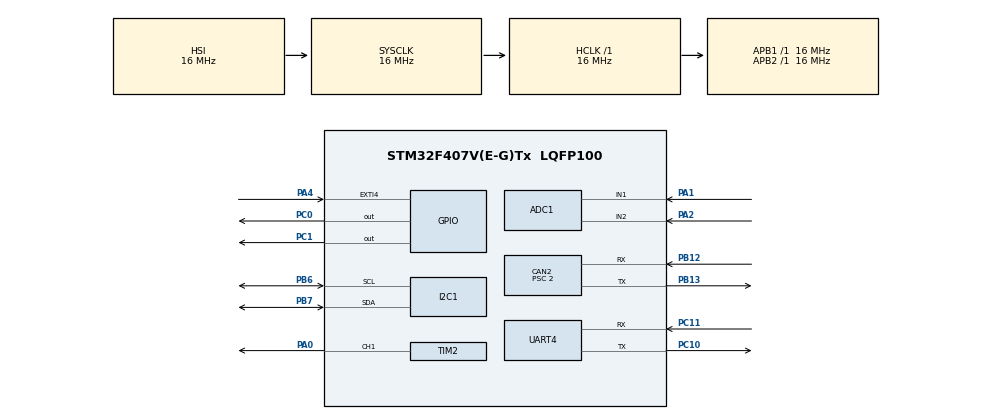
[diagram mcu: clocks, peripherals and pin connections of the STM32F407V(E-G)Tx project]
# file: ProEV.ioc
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ADC1.Channel-0\#ChannelRegularConversion=ADC_CHANNEL_1
ADC1.NbrOfConversionFlag=1
ADC1.Rank-0\#ChannelRegularConversion=1
ADC1.SamplingTime-0\#ChannelRegularConversion=ADC_SAMPLETIME_3CYCLES
ADC1.master=1
CAN2.BS1=CAN_BS1_13TQ
CAN2.BS2=CAN_BS2_2TQ
CAN2.CalculateBaudRate=500000
CAN2.CalculateTimeBit=2000
CAN2.CalculateTimeQuantum=125.0
CAN2.Prescaler=2
FREERTOS.Tasks01=SafetyTask,40,128,StartSafetyTask,Default,NULL,Dynamic,NULL,NULL;ControlTask,32,256,StartControlTask,Default,NULL,Dynamic,NULL,NULL;TelemetryTask,24,256,StartTelemetryTask,Default,NULL,Dynamic,NULL,NULL
Mcu.Family=STM32F4
Mcu.Name=STM32F407V(E-G)Tx
Mcu.Package=LQFP100
NVIC.ADC_IRQn=true\:5\:0\:false\:false\:true\:true\:true\:true\:true
NVIC.EXTI4_IRQn=true\:5\:0\:false\:false\:true\:true\:true\:true\:true
NVIC.FPU_IRQn=true\:5\:0\:false\:false\:true\:true\:true\:false\:true
NVIC.PriorityGroup=NVIC_PRIORITYGROUP_4
NVIC.TIM2_IRQn=true\:5\:0\:false\:false\:true\:true\:true\:true\:true
NVIC.TIM6_DAC_IRQn=true\:15\:0\:false\:false\:true\:false\:false\:true\:true
NVIC.TimeBase=TIM6_DAC_IRQn
NVIC.TimeBaseIP=TIM6
PA0-WKUP.Signal=S_TIM2_CH1_ETR
PA1.Signal=ADCx_IN1
PA2.Signal=ADCx_IN2
PA4.GPIO_ModeDefaultEXTI=GPIO_MODE_IT_RISING_FALLING
PA4.GPIO_PuPd=GPIO_PULLUP
PA4.Signal=GPXTI4
PB12.Mode=CAN_Activate
PB12.Signal=CAN2_RX
PB13.Mode=CAN_Activate
PB13.Signal=CAN2_TX
PB6.Mode=I2C
PB6.Signal=I2C1_SCL
PB7.Mode=I2C
PB7.Signal=I2C1_SDA
PC0.Signal=GPIO_Output
PC1.Signal=GPIO_Output
PC10.Mode=Asynchronous
PC10.Signal=UART4_TX
PC11.Mode=Asynchronous
PC11.Signal=UART4_RX
ProjectManager.HeapSize=0x200
ProjectManager.StackSize=0x400
ProjectManager.TargetToolchain=STM32CubeIDE
RCC.AHBFreq_Value=16000000
RCC.APB1Freq_Value=16000000
RCC.APB2Freq_Value=16000000
RCC.CortexFreq_Value=16000000
RCC.HSE_VALUE=25000000
RCC.HSI_VALUE=16000000
RCC.LSE_VALUE=32768
RCC.SYSCLKFreq_VALUE=16000000
RCC.VCOOutputFreq_Value=192000000
SH.ADCx_IN1.0=ADC1_IN1,IN1
SH.ADCx_IN2.0=ADC1_IN2,IN2
SH.S_TIM2_CH1_ETR.0=TIM2_CH1,PWM Generation1 CH1
STMicroelectronics.X-CUBE-AI.10.2.0.ActivationBufferSizeList=2048
STMicroelectronics.X-CUBE-AI.10.2.0.ActivationBuffers=pool0
STMicroelectronics.X-CUBE-AI.10.2.0.ActivationNames=pool0
STMicroelectronics.X-CUBE-AI.10.2.0.ActivationSizes=AI_NETWORK_DATA_ACTIVATION_1_SIZE
STMicroelectronics.X-CUBE-AI.10.2.0.ApplicationCcDeviceJjApplication=SystemPerformance
STMicroelectronics.X-CUBE-AI.10.2.0.HeapSize=0x800
STMicroelectronics.X-CUBE-AI.10.2.0.InternalRamActivationBufferMaxSize=AI_NETWORK_DATA_ACTIVATIONS_SIZE
STMicroelectronics.X-CUBE-AI.10.2.0.LatestDirectoryUsed-b0077ebbcfb15371bb850d12dde4a784541417313aa44314c592c86d21c0babe=/home/desd/Downloads
STMicroelectronics.X-CUBE-AI.10.2.0.MaximumNumberOfInputLayer=1
STMicroelectronics.X-CUBE-AI.10.2.0.MaximumNumberOfOutputLayer=1
STMicroelectronics.X-CUBE-AI.10.2.0.ModelActualCompression-b0077ebbcfb15371bb850d12dde4a784541417313aa44314c592c86d21c0babe=0.0
STMicroelectronics.X-CUBE-AI.10.2.0.ModelCompression-b0077ebbcfb15371bb850d12dde4a784541417313aa44314c592c86d21c0babe=None
STMicroelectronics.X-CUBE-AI.10.2.0.ModelFlashOccupation-b0077ebbcfb15371bb850d12dde4a784541417313aa44314c592c86d21c0babe=3108
STMicroelectronics.X-CUBE-AI.10.2.0.ModelHashList=b0077ebbcfb15371bb850d12dde4a784541417313aa44314c592c86d21c0babe
STMicroelectronics.X-CUBE-AI.10.2.0.ModelKind-b0077ebbcfb15371bb850d12dde4a784541417313aa44314c592c86d21c0babe=TFLITE
STMicroelectronics.X-CUBE-AI.10.2.0.ModelMacc-b0077ebbcfb15371bb850d12dde4a784541417313aa44314c592c86d21c0babe=0
STMicroelectronics.X-CUBE-AI.10.2.0.ModelName-b0077ebbcfb15371bb850d12dde4a784541417313aa44314c592c86d21c0babe=network
STMicroelectronics.X-CUBE-AI.10.2.0.ModelNameList=network
STMicroelectronics.X-CUBE-AI.10.2.0.ModelRamOccupation-b0077ebbcfb15371bb850d12dde4a784541417313aa44314c592c86d21c0babe=2048
STMicroelectronics.X-CUBE-AI.10.2.0.ModelStructureFile-b0077ebbcfb15371bb850d12dde4a784541417313aa44314c592c86d21c0babe=/home/desd/Downloads/ev_model.tflite
STMicroelectronics.X-CUBE-AI.10.2.0.ModelType-b0077ebbcfb15371bb850d12dde4a784541417313aa44314c592c86d21c0babe=TFLite Micro runtime
STMicroelectronics.X-CUBE-AI.10.2.0.ReadyForCodeGeneration=false
STMicroelectronics.X-CUBE-AI.10.2.0.StackSize=0x1000
STMicroelectronics.X-CUBE-AI.10.2.0.WorkingBufferStartAddrList=0xFFFFFFFF
STMicroelectronics.X-CUBE-AI.10.2.0.XAaCUBEAaAICcArtificialOoIntelligenceJjCore=true
STMicroelectronics.X-CUBE-AI.10.2.0.copyWeightToRam=false
STMicroelectronics.X-CUBE-AI.10.2.0.customLayerConfigEnabled=false
STMicroelectronics.X-CUBE-AI.10.2.0.noOnnxIoTranspose=false
STMicroelectronics.X-CUBE-AI.10.2.0.tfliteruntime=true
STMicroelectronics.X-CUBE-AI.10.2.0.useInputAllocation=true
STMicroelectronics.X-CUBE-AI.10.2.0.useOutputAllocation=true
TIM2.Channel-PWM\ Generation1\ CH1=TIM_CHANNEL_1
TIM2.Period=999
TIM2.Prescaler=83
UART4.VirtualMode=Asynchronous
VP_FREERTOS_VS_CMSIS_V2.Mode=CMSIS_V2
VP_STMicroelectronics.X-CUBE-AI_VS_ArtificialOoIntelligenceJjXAaCUBEAaAI_10.2.0.Mode=ArtificialOoIntelligenceJjXAaCUBEAaAI
VP_STMicroelectronics.X-CUBE-AI_VS_DeviceJjApplication_10.2.0.Mode=DeviceJjApplication
VP_SYS_VS_tim6.Mode=TIM6
VP_TIM2_VS_ClockSourceINT.Mode=Internal
board=custom

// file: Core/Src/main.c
/* USER CODE BEGIN Header */
/**
  ******************************************************************************
  * @file           : main.c
  * @brief          : Production-Grade EV VCU Firmware with Embedded AI
  *                   Target      : STM32F407VGT6
  ******************************************************************************
  */
/* USER CODE END Header */

#include "main.h"
#include "cmsis_os.h"

/* USER CODE BEGIN Includes */
#include <stdio.h>
#include <string.h>
#include <math.h>
#include "ev_ai_model.h"   /* Manual NN inference */
#include "FreeRTOS.h"

/* USER CODE END Includes */

/* USER CODE BEGIN PTD */
typedef struct {
  uint32_t raw_throttle;
  uint8_t  throttle_pct;
  float    motor_current_a;
  int16_t  pitch_angle;
  float    temperature_c;   // MLX90614 Live Temperature
  uint8_t  brake_status;
  uint8_t  ai_fault_status; // 0: NORMAL, 1: WARNING
  uint8_t  adc_fault;       // 0: OK, 1: ADC Read Error/Timeout
} VCU_Telemetry_t;
/* USER CODE END PTD */

/* USER CODE BEGIN PD */
#define MPU6050_ADDR         0xD0   // 0x68 << 1 (I2C Address for Gyro/Accel)
#define MLX90614_ADDR        0xB4   // 0x5A << 1 (I2C Address for IR Temp Sensor)
#define MLX90614_TOBJ1       0x07   // RAM register for Object Temperature
#define ACS712_VREF          3.3f   // STM32 ADC Reference Voltage
/* USER CODE END PD */

ADC_HandleTypeDef hadc1;
CAN_HandleTypeDef hcan2;
I2C_HandleTypeDef hi2c1;
TIM_HandleTypeDef htim2;
UART_HandleTypeDef huart4;

/* Definitions for SafetyTask */
osThreadId_t SafetyTaskHandle;
const osThreadAttr_t SafetyTask_attributes = {
  .name = "SafetyTask",
  .stack_size = 128 * 4,
  .priority = (osPriority_t) osPriorityHigh,
};
/* Definitions for ControlTask */
osThreadId_t ControlTaskHandle;
const osThreadAttr_t ControlTask_attributes = {
  .name = "ControlTask",
  .stack_size = 512 * 4,
  .priority = (osPriority_t) osPriorityAboveNormal,
};
/* Definitions for TelemetryTask */
osThreadId_t TelemetryTaskHandle;
const osThreadAttr_t TelemetryTask_attributes = {
  .name = "TelemetryTask",
  .stack_size = 256 * 4,
  .priority = (osPriority_t) osPriorityNormal,
};

/* USER CODE BEGIN PV */
volatile uint8_t brake_applied = 0;
char uart_buf[128];

// RTOS Inter-Process Communication Handles
osSemaphoreId_t BrakeSemaphoreHandle;
osMessageQueueId_t TelemetryQueueHandle;

// CAN Bus Variables
CAN_TxHeaderTypeDef TxHeader;
uint8_t TxData[8];
uint32_t TxMailbox;
CAN_FilterTypeDef sFilterConfig;
/* USER CODE END PV */

void SystemClock_Config(void);
static void MX_GPIO_Init(void);
static void MX_TIM2_Init(void);
static void MX_ADC1_Init(void);
static void MX_UART4_Init(void);
static void MX_CAN2_Init(void);
static void MX_I2C1_Init(void);
void StartSafetyTask(void *argument);
void StartControlTask(void *argument);
void StartTelemetryTask(void *argument);

/* USER CODE BEGIN PFP */
void MPU6050_Init(void);
int16_t MPU6050_ReadPitchAngle(void);
float MLX90614_ReadTemperature(void);
int8_t Read_ADC_Channel(uint32_t channel, uint32_t *out_val);
/* USER CODE END PFP */

/* USER CODE BEGIN 0 */
int8_t Read_ADC_Channel(uint32_t channel, uint32_t *out_val)
{
  ADC_ChannelConfTypeDef sConfig = {0};
  sConfig.Channel = channel;
  sConfig.Rank = 1;
  sConfig.SamplingTime = ADC_SAMPLETIME_84CYCLES;

  if (HAL_ADC_ConfigChannel(&hadc1, &sConfig) != HAL_OK)
  {
    return -1;
  }

  if (HAL_ADC_Start(&hadc1) != HAL_OK)
  {
    return -1;
  }

  if (HAL_ADC_PollForConversion(&hadc1, 10) == HAL_OK)
  {
    *out_val = HAL_ADC_GetValue(&hadc1);
    HAL_ADC_Stop(&hadc1);
    return 0; // Success
  }

  HAL_ADC_Stop(&hadc1);
  return -1; // Failure
}
/* USER CODE END 0 */

int main(void)
{
  HAL_Init();
  SystemClock_Config();

  MX_GPIO_Init();
  MX_TIM2_Init();
  MX_ADC1_Init();
  MX_UART4_Init();
  MX_CAN2_Init();
  MX_I2C1_Init();

  /* USER CODE BEGIN 2 */
  snprintf(uart_buf, sizeof(uart_buf), "\r\n=================================\r\n");
  HAL_UART_Transmit(&huart4, (uint8_t *)uart_buf, strlen(uart_buf), 100);

  snprintf(uart_buf, sizeof(uart_buf), "   EV VCU AI/IoT Firmware v3.7   \r\n");
  HAL_UART_Transmit(&huart4, (uint8_t *)uart_buf, strlen(uart_buf), 100);

  snprintf(uart_buf, sizeof(uart_buf), "=================================\r\n\r\n");
  HAL_UART_Transmit(&huart4, (uint8_t *)uart_buf, strlen(uart_buf), 100);

  MPU6050_Init();

  sFilterConfig.FilterBank = 14;
  sFilterConfig.FilterMode = CAN_FILTERMODE_IDMASK;
  sFilterConfig.FilterScale = CAN_FILTERSCALE_32BIT;
  sFilterConfig.FilterIdHigh = 0x0000;
  sFilterConfig.FilterIdLow = 0x0000;
  sFilterConfig.FilterMaskIdHigh = 0x0000;
  sFilterConfig.FilterMaskIdLow = 0x0000;
  sFilterConfig.FilterFIFOAssignment = CAN_RX_FIFO0;
  sFilterConfig.FilterActivation = ENABLE;
  sFilterConfig.SlaveStartFilterBank = 14;

  if (HAL_CAN_ConfigFilter(&hcan2, &sFilterConfig) != HAL_OK)
  {
    Error_Handler();
  }

  if (HAL_CAN_Start(&hcan2) != HAL_OK)
  {
    Error_Handler();
  }

  TxHeader.StdId = 0x103;
  TxHeader.RTR = CAN_RTR_DATA;
  TxHeader.IDE = CAN_ID_STD;
  TxHeader.DLC = 8;
  TxHeader.TransmitGlobalTime = DISABLE;

  HAL_TIM_PWM_Start(&htim2, TIM_CHANNEL_1);

  HAL_GPIO_WritePin(GPIOC, GPIO_PIN_0, GPIO_PIN_SET);
  HAL_GPIO_WritePin(GPIOC, GPIO_PIN_1, GPIO_PIN_RESET);
  /* USER CODE END 2 */

  osKernelInitialize();

  /* USER CODE BEGIN RTOS_SEMAPHORES */
  BrakeSemaphoreHandle = osSemaphoreNew(1, 0, NULL);
  /* USER CODE END RTOS_SEMAPHORES */

  /* USER CODE BEGIN RTOS_QUEUES */
  TelemetryQueueHandle = osMessageQueueNew(5, sizeof(VCU_Telemetry_t), NULL);
  /* USER CODE END RTOS_QUEUES */

  SafetyTaskHandle = osThreadNew(StartSafetyTask, NULL, &SafetyTask_attributes);
  ControlTaskHandle = osThreadNew(StartControlTask, NULL, &ControlTask_attributes);
  TelemetryTaskHandle = osThreadNew(StartTelemetryTask, NULL, &TelemetryTask_attributes);

  osKernelStart();

  while (1)
  {
  }
}

void SystemClock_Config(void)
{
  RCC_OscInitTypeDef RCC_OscInitStruct = {0};
  RCC_ClkInitTypeDef RCC_ClkInitStruct = {0};

  __HAL_RCC_PWR_CLK_ENABLE();
  __HAL_PWR_VOLTAGESCALING_CONFIG(PWR_REGULATOR_VOLTAGE_SCALE1);

  RCC_OscInitStruct.OscillatorType = RCC_OSCILLATORTYPE_HSI;
  RCC_OscInitStruct.HSIState = RCC_HSI_ON;
  RCC_OscInitStruct.HSICalibrationValue = RCC_HSICALIBRATION_DEFAULT;
  RCC_OscInitStruct.PLL.PLLState = RCC_PLL_NONE;
  if (HAL_RCC_OscConfig(&RCC_OscInitStruct) != HAL_OK)
  {
    Error_Handler();
  }

  RCC_ClkInitStruct.ClockType = RCC_CLOCKTYPE_HCLK|RCC_CLOCKTYPE_SYSCLK
                              |RCC_CLOCKTYPE_PCLK1|RCC_CLOCKTYPE_PCLK2;
  RCC_ClkInitStruct.SYSCLKSource = RCC_SYSCLKSOURCE_HSI;
  RCC_ClkInitStruct.AHBCLKDivider = RCC_SYSCLK_DIV1;
  RCC_ClkInitStruct.APB1CLKDivider = RCC_HCLK_DIV1;
  RCC_ClkInitStruct.APB2CLKDivider = RCC_HCLK_DIV1;

  if (HAL_RCC_ClockConfig(&RCC_ClkInitStruct, FLASH_LATENCY_0) != HAL_OK)
  {
    Error_Handler();
  }
}

static void MX_ADC1_Init(void)
{
  hadc1.Instance = ADC1;
  hadc1.Init.ClockPrescaler = ADC_CLOCK_SYNC_PCLK_DIV2;
  hadc1.Init.Resolution = ADC_RESOLUTION_12B;
  hadc1.Init.ScanConvMode = DISABLE;
  hadc1.Init.ContinuousConvMode = DISABLE;
  hadc1.Init.DiscontinuousConvMode = DISABLE;
  hadc1.Init.ExternalTrigConvEdge = ADC_EXTERNALTRIGCONVEDGE_NONE;
  hadc1.Init.ExternalTrigConv = ADC_SOFTWARE_START;
  hadc1.Init.DataAlign = ADC_DATAALIGN_RIGHT;
  hadc1.Init.NbrOfConversion = 1;
  hadc1.Init.DMAContinuousRequests = DISABLE;
  hadc1.Init.EOCSelection = ADC_EOC_SINGLE_CONV;
  if (HAL_ADC_Init(&hadc1) != HAL_OK)
  {
    Error_Handler();
  }
}

static void MX_CAN2_Init(void)
{
  hcan2.Instance = CAN2;
  hcan2.Init.Prescaler = 2;
  hcan2.Init.Mode = CAN_MODE_NORMAL;
  hcan2.Init.SyncJumpWidth = CAN_SJW_1TQ;
  hcan2.Init.TimeSeg1 = CAN_BS1_13TQ;
  hcan2.Init.TimeSeg2 = CAN_BS2_2TQ;
  hcan2.Init.TimeTriggeredMode = DISABLE;
  hcan2.Init.AutoBusOff = ENABLE;
  hcan2.Init.AutoWakeUp = DISABLE;
  hcan2.Init.AutoRetransmission = ENABLE;
  hcan2.Init.ReceiveFifoLocked = DISABLE;
  hcan2.Init.TransmitFifoPriority = DISABLE;
  if (HAL_CAN_Init(&hcan2) != HAL_OK)
  {
    Error_Handler();
  }
}

static void MX_I2C1_Init(void)
{
  hi2c1.Instance = I2C1;
  hi2c1.Init.ClockSpeed = 100000;
  hi2c1.Init.DutyCycle = I2C_DUTYCYCLE_2;
  hi2c1.Init.OwnAddress1 = 0;
  hi2c1.Init.AddressingMode = I2C_ADDRESSINGMODE_7BIT;
  hi2c1.Init.DualAddressMode = I2C_DUALADDRESS_DISABLE;
  hi2c1.Init.OwnAddress2 = 0;
  hi2c1.Init.GeneralCallMode = I2C_GENERALCALL_DISABLE;
  hi2c1.Init.NoStretchMode = I2C_NOSTRETCH_DISABLE;
  if (HAL_I2C_Init(&hi2c1) != HAL_OK)
  {
    Error_Handler();
  }
}

static void MX_TIM2_Init(void)
{
  TIM_ClockConfigTypeDef sClockSourceConfig = {0};
  TIM_MasterConfigTypeDef sMasterConfig = {0};
  TIM_OC_InitTypeDef sConfigOC = {0};

  htim2.Instance = TIM2;
  htim2.Init.Prescaler = 83;
  htim2.Init.CounterMode = TIM_COUNTERMODE_UP;
  htim2.Init.Period = 999;
  htim2.Init.ClockDivision = TIM_CLOCKDIVISION_DIV1;
  htim2.Init.AutoReloadPreload = TIM_AUTORELOAD_PRELOAD_DISABLE;
  if (HAL_TIM_Base_Init(&htim2) != HAL_OK)
  {
    Error_Handler();
  }
  sClockSourceConfig.ClockSource = TIM_CLOCKSOURCE_INTERNAL;
  if (HAL_TIM_ConfigClockSource(&htim2, &sClockSourceConfig) != HAL_OK)
  {
    Error_Handler();
  }
  if (HAL_TIM_PWM_Init(&htim2) != HAL_OK)
  {
    Error_Handler();
  }
  sMasterConfig.MasterOutputTrigger = TIM_TRGO_RESET;
  sMasterConfig.MasterSlaveMode = TIM_MASTERSLAVEMODE_DISABLE;
  if (HAL_TIMEx_MasterConfigSynchronization(&htim2, &sMasterConfig) != HAL_OK)
  {
    Error_Handler();
  }
  sConfigOC.OCMode = TIM_OCMODE_PWM1;
  sConfigOC.Pulse = 0;
  sConfigOC.OCPolarity = TIM_OCPOLARITY_HIGH;
  sConfigOC.OCFastMode = TIM_OCFAST_DISABLE;
  if (HAL_TIM_PWM_ConfigChannel(&htim2, &sConfigOC, TIM_CHANNEL_1) != HAL_OK)
  {
    Error_Handler();
  }
  HAL_TIM_MspPostInit(&htim2);
}

static void MX_UART4_Init(void)
{
  huart4.Instance = UART4;
  huart4.Init.BaudRate = 115200;
  huart4.Init.WordLength = UART_WORDLENGTH_8B;
  huart4.Init.StopBits = UART_STOPBITS_1;
  huart4.Init.Parity = UART_PARITY_NONE;
  huart4.Init.Mode = UART_MODE_TX_RX;
  huart4.Init.HwFlowCtl = UART_HWCONTROL_NONE;
  huart4.Init.OverSampling = UART_OVERSAMPLING_16;
  if (HAL_UART_Init(&huart4) != HAL_OK)
  {
    Error_Handler();
  }
}

static void MX_GPIO_Init(void)
{
  GPIO_InitTypeDef GPIO_InitStruct = {0};

  __HAL_RCC_GPIOC_CLK_ENABLE();
  __HAL_RCC_GPIOA_CLK_ENABLE();
  __HAL_RCC_GPIOB_CLK_ENABLE();

  HAL_GPIO_WritePin(GPIOC, GPIO_PIN_0|GPIO_PIN_1, GPIO_PIN_RESET);

  GPIO_InitStruct.Pin = GPIO_PIN_0|GPIO_PIN_1;
  GPIO_InitStruct.Mode = GPIO_MODE_OUTPUT_PP;
  GPIO_InitStruct.Pull = GPIO_NOPULL;
  GPIO_InitStruct.Speed = GPIO_SPEED_FREQ_LOW;
  HAL_GPIO_Init(GPIOC, &GPIO_InitStruct);

  GPIO_InitStruct.Pin = GPIO_PIN_4;
  GPIO_InitStruct.Mode = GPIO_MODE_IT_RISING_FALLING;
  GPIO_InitStruct.Pull = GPIO_PULLUP;
  HAL_GPIO_Init(GPIOA, &GPIO_InitStruct);

  HAL_NVIC_SetPriority(EXTI4_IRQn, 5, 0);
  HAL_NVIC_EnableIRQ(EXTI4_IRQn);
}

/* USER CODE BEGIN 4 */
void MPU6050_Init(void)
{
  uint8_t check, data;
  if (HAL_I2C_Mem_Read(&hi2c1, MPU6050_ADDR, 0x75, 1, &check, 1, 100) != HAL_OK)
  {
    return;
  }
  if (check == 0x68)
  {
    data = 0x00;
    HAL_I2C_Mem_Write(&hi2c1, MPU6050_ADDR, 0x6B, 1, &data, 1, 100);
  }
}

int16_t MPU6050_ReadPitchAngle(void)
{
  uint8_t raw_data[6];
  int16_t accel_x, accel_y, accel_z;
  float pitch;

  if (HAL_I2C_Mem_Read(&hi2c1, MPU6050_ADDR, 0x3B, 1, raw_data, 6, 50) == HAL_OK)
  {
    accel_x = (int16_t)(raw_data[0] << 8 | raw_data[1]);
    accel_y = (int16_t)(raw_data[2] << 8 | raw_data[3]);
    accel_z = (int16_t)(raw_data[4] << 8 | raw_data[5]);

    float denom = sqrtf((float)accel_y * accel_y + (float)accel_z * accel_z);
    if (denom < 1.0f) denom = 1.0f;

    pitch = atan2f((float)accel_x, denom) * (180.0f / 3.14159f);
    return (int16_t)pitch;
  }
  return 0;
}

float MLX90614_ReadTemperature(void)
{
  uint8_t raw_data[3];
  int16_t temp_raw;

  if (HAL_I2C_Mem_Read(&hi2c1, MLX90614_ADDR, MLX90614_TOBJ1, 1, raw_data, 3, 100) == HAL_OK)
  {
    temp_raw = (int16_t)(raw_data[1] << 8 | raw_data[0]);
    float temp_c = ((float)temp_raw * 0.02f) - 273.15f;
    return temp_c;
  }
  return 0.0f;
}

void HAL_GPIO_EXTI_Callback(uint16_t GPIO_Pin)
{
  if (GPIO_Pin == GPIO_PIN_4)
  {
    if (HAL_GPIO_ReadPin(GPIOA, GPIO_PIN_4) == GPIO_PIN_RESET) {
      brake_applied = 1;
    } else {
      brake_applied = 0;
    }
    osSemaphoreRelease(BrakeSemaphoreHandle);
  }
}

void *__wrap_malloc(size_t size)
{
  return pvPortMalloc(size);
}

void __wrap_free(void *ptr)
{
  vPortFree(ptr);
}
/* USER CODE END 4 */

void StartSafetyTask(void *argument)
{
  for(;;)
  {
    if (osSemaphoreAcquire(BrakeSemaphoreHandle, osWaitForever) == osOK)
    {
      if (brake_applied)
      {
        __HAL_TIM_SET_COMPARE(&htim2, TIM_CHANNEL_1, 0);
      }
    }
  }
}

void StartControlTask(void *argument)
{
  VCU_Telemetry_t tx_data;
  uint32_t adc_ch1 = 0, adc_ch2 = 0;

  float ai_input[4];
  float warning_prob = 0.0f;

  for(;;)
  {
    memset(&tx_data, 0, sizeof(VCU_Telemetry_t));

    if (!brake_applied)
    {
      int8_t res_ch1 = Read_ADC_Channel(ADC_CHANNEL_1, &adc_ch1); // PA1 Throttle
      int8_t res_ch2 = Read_ADC_Channel(ADC_CHANNEL_2, &adc_ch2); // PA2 ACS712 Current

      if (res_ch1 != 0 || res_ch2 != 0)
      {
        tx_data.adc_fault = 1;
        adc_ch1 = 0;
      }
      else
      {
        tx_data.adc_fault = 0;
      }

      // 1. Process Throttle & Motor Duty Cycle
      tx_data.raw_throttle = adc_ch1;
      uint16_t pwm_duty = (uint16_t)((adc_ch1 * 999) / 4095);
      tx_data.throttle_pct = (uint8_t)((pwm_duty * 100) / 999);
      tx_data.brake_status = 0;

      // 2. Process Current Reading
      float measured_v = ((float)adc_ch2 / 4095.0f) * 3.3f;
      float calculated_i = (measured_v - 2.5f) / 0.066f;

      if (calculated_i < 0.3f && calculated_i > -0.3f) {
        tx_data.motor_current_a = 0.0f;
      } else {
        tx_data.motor_current_a = fabsf(calculated_i);
      }

      // 3. Drive Motor PWM Output
      __HAL_TIM_SET_COMPARE(&htim2, TIM_CHANNEL_1, pwm_duty);

      // 4. Read Sensors via I2C Bus
      tx_data.pitch_angle = MPU6050_ReadPitchAngle();
      tx_data.temperature_c = MLX90614_ReadTemperature();

      // 5. EMBEDDED AI INFERENCE
      ai_input[0] = (float)tx_data.throttle_pct;     // Throttle (%)
      ai_input[1] = tx_data.motor_current_a;          // Current (A)
      ai_input[2] = (float)tx_data.pitch_angle;       // Pitch (deg)
      ai_input[3] = tx_data.temperature_c;           // Temperature (°C)

      tx_data.ai_fault_status = AI_Predict(ai_input, &warning_prob);
    }
    else
    {
      tx_data.raw_throttle = 0;
      tx_data.throttle_pct = 0;
      tx_data.motor_current_a = 0.0f;
      tx_data.pitch_angle = 0;
      tx_data.temperature_c = 0.0f;
      tx_data.brake_status = 1;
      tx_data.ai_fault_status = 0;
      tx_data.adc_fault = 0;
      __HAL_TIM_SET_COMPARE(&htim2, TIM_CHANNEL_1, 0);
    }

    osMessageQueuePut(TelemetryQueueHandle, &tx_data, 0, 10);
    osDelay(20);
  }
}

void StartTelemetryTask(void *argument)
{
  VCU_Telemetry_t rx_data;

  for(;;)
  {
    if (osMessageQueueGet(TelemetryQueueHandle, &rx_data, NULL, osWaitForever) == osOK)
    {
      if (!rx_data.brake_status)
      {
        int current_int = (int)rx_data.motor_current_a;
        int current_dec = (int)((rx_data.motor_current_a - current_int) * 100);
        if (current_dec < 0) current_dec = -current_dec;

        int temp_int = (int)rx_data.temperature_c;
        int temp_dec = (int)((rx_data.temperature_c - temp_int) * 10);
        if (temp_dec < 0) temp_dec = -temp_dec;

        const char* ai_status = (rx_data.ai_fault_status == 0) ? "NORMAL" : "WARNING";

        snprintf(uart_buf, sizeof(uart_buf),
          "[VCU LIVE] Throttle: %3d%% | Current: %d.%02dA | Pitch: %2d deg | Temp: %d.%1d C | AI Status: %s\r\n",
          rx_data.throttle_pct, current_int, current_dec, rx_data.pitch_angle, temp_int, temp_dec, ai_status);
      }
      else
      {
        snprintf(uart_buf, sizeof(uart_buf), "[SAFETY ALERT] !!! EMERGENCY BRAKE TRIGGERED - MOTOR CUTOFF !!!\r\n");
      }
      HAL_UART_Transmit(&huart4, (uint8_t *)uart_buf, strlen(uart_buf), 50);

      // Broadcast CAN Frame
      uint16_t current_scaled = (uint16_t)(rx_data.motor_current_a * 100);
      uint8_t temp_scaled = (uint8_t)(rx_data.temperature_c);

      TxData[0] = rx_data.brake_status ? 0xFF : (rx_data.adc_fault ? 0xEE : 0x01);
      TxData[1] = rx_data.throttle_pct;
      TxData[2] = (uint8_t)(current_scaled >> 8);
      TxData[3] = (uint8_t)(current_scaled & 0xFF);
      TxData[4] = (uint8_t)(rx_data.pitch_angle >> 8);
      TxData[5] = temp_scaled;
      TxData[6] = rx_data.ai_fault_status;
      TxData[7] = rx_data.adc_fault;

      if (HAL_CAN_GetTxMailboxesFreeLevel(&hcan2) > 0)
      {
        HAL_CAN_AddTxMessage(&hcan2, &TxHeader, TxData, &TxMailbox);
      }
    }
  }
}

void HAL_TIM_PeriodElapsedCallback(TIM_HandleTypeDef *htim)
{
  if (htim->Instance == TIM6)
  {
    HAL_IncTick();
  }
}

void Error_Handler(void)
{
  __disable_irq();
  while (1)
  {
  }
}
